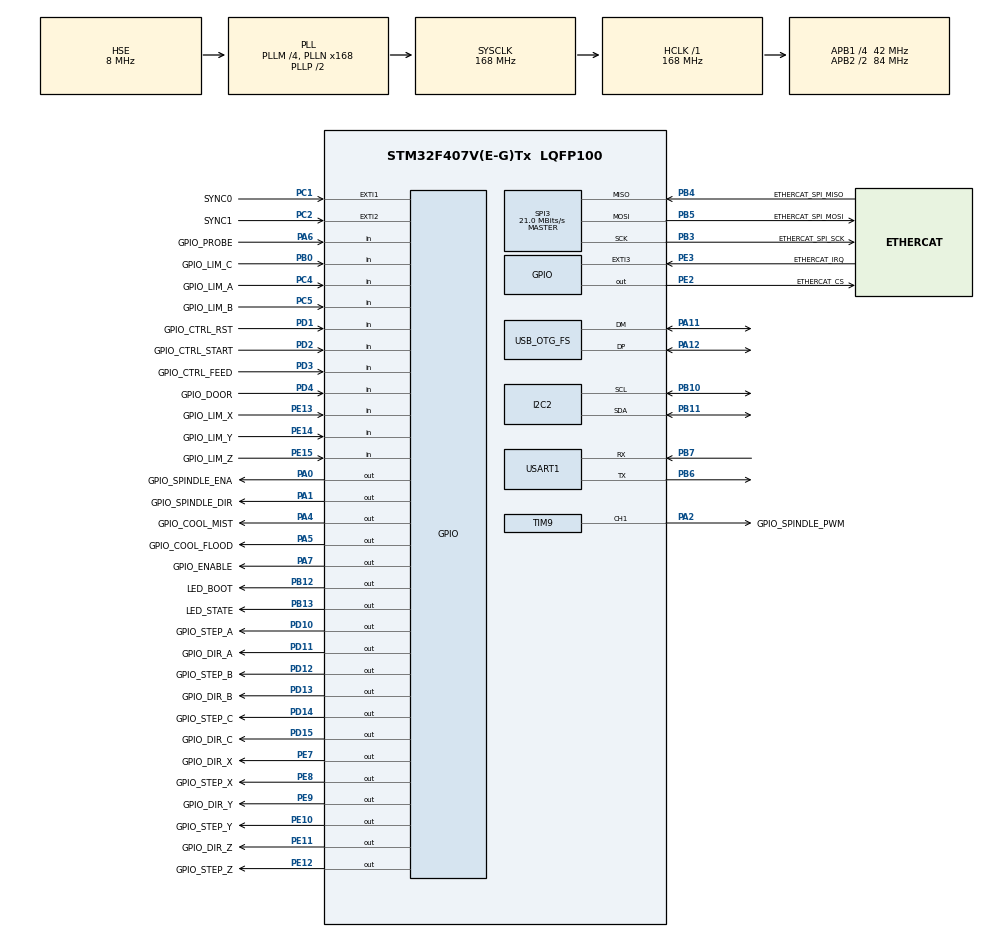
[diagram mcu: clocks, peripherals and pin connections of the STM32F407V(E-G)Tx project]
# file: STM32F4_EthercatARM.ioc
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IWDG.Prescaler=IWDG_PRESCALER_32
IWDG.Reload=1000
Mcu.Family=STM32F4
Mcu.Name=STM32F407V(E-G)Tx
Mcu.Package=LQFP100
NVIC.EXTI1_IRQn=true\:0\:0\:true\:false\:true\:true
NVIC.EXTI2_IRQn=true\:0\:0\:true\:false\:true\:true
NVIC.EXTI3_IRQn=true\:0\:0\:true\:false\:true\:true
NVIC.PriorityGroup=NVIC_PRIORITYGROUP_4
NVIC.TIM4_IRQn=true\:0\:0\:true\:false\:false\:true
NVIC.TIM5_IRQn=true\:0\:0\:true\:false\:true\:true
NVIC.USART1_IRQn=true\:0\:0\:false\:false\:true\:true
PA0-WKUP.GPIO_Label=GPIO_SPINDLE_ENA
PA0-WKUP.Signal=GPIO_Output
PA1.GPIO_Label=GPIO_SPINDLE_DIR
PA1.Signal=GPIO_Output
PA11.Mode=Device_Only
PA11.Signal=USB_OTG_FS_DM
PA12.Mode=Device_Only
PA12.Signal=USB_OTG_FS_DP
PA13.Mode=Serial_Wire
PA13.Signal=SYS_JTMS-SWDIO
PA14.Mode=Serial_Wire
PA14.Signal=SYS_JTCK-SWCLK
PA2.GPIO_Label=GPIO_SPINDLE_PWM
PA2.GPIO_PuPd=GPIO_PULLUP
PA2.GPIO_Speed=GPIO_SPEED_FREQ_HIGH
PA2.Signal=S_TIM9_CH1
PA4.GPIO_Label=GPIO_COOL_MIST
PA4.Signal=GPIO_Output
PA5.GPIO_Label=GPIO_COOL_FLOOD
PA5.Signal=GPIO_Output
PA6.GPIO_Label=GPIO_PROBE
PA6.GPIO_PuPd=GPIO_PULLUP
PA6.Signal=GPIO_Input
PA7.GPIO_Label=GPIO_ENABLE
PA7.GPIO_PuPd=GPIO_PULLUP
PA7.GPIO_Speed=GPIO_SPEED_FREQ_HIGH
PA7.PinState=GPIO_PIN_SET
PA7.Signal=GPIO_Output
PB0.GPIO_Label=GPIO_LIM_C
PB0.GPIO_PuPd=GPIO_PULLUP
PB0.Signal=GPIO_Input
PB10.Mode=I2C
PB10.Signal=I2C2_SCL
PB11.Mode=I2C
PB11.Signal=I2C2_SDA
PB12.GPIO_Label=LED_BOOT
PB12.GPIO_Speed=GPIO_SPEED_FREQ_HIGH
PB12.PinState=GPIO_PIN_SET
PB12.Signal=GPIO_Output
PB13.GPIO_Label=LED_STATE
PB13.GPIO_Speed=GPIO_SPEED_FREQ_HIGH
PB13.PinState=GPIO_PIN_SET
PB13.Signal=GPIO_Output
PB3.GPIO_Label=ETHERCAT_SPI_SCK
PB3.GPIO_PuPd=GPIO_PULLDOWN
PB3.Mode=Full_Duplex_Master
PB3.Signal=SPI3_SCK
PB4.GPIO_Label=ETHERCAT_SPI_MISO
PB4.GPIO_PuPd=GPIO_PULLDOWN
PB4.Mode=Full_Duplex_Master
PB4.Signal=SPI3_MISO
PB5.GPIO_Label=ETHERCAT_SPI_MOSI
PB5.GPIO_PuPd=GPIO_PULLDOWN
PB5.Mode=Full_Duplex_Master
PB5.Signal=SPI3_MOSI
PB6.Mode=Asynchronous
PB6.Signal=USART1_TX
PB7.Mode=Asynchronous
PB7.Signal=USART1_RX
PC1.GPIO_Label=SYNC0
PC1.GPIO_ModeDefaultEXTI=GPIO_MODE_IT_FALLING
PC1.Signal=GPXTI1
PC14-OSC32_IN.Mode=LSE-External-Oscillator
PC14-OSC32_IN.Signal=RCC_OSC32_IN
PC15-OSC32_OUT.Mode=LSE-External-Oscillator
PC15-OSC32_OUT.Signal=RCC_OSC32_OUT
PC2.GPIO_Label=SYNC1
PC2.GPIO_ModeDefaultEXTI=GPIO_MODE_IT_FALLING
PC2.Signal=GPXTI2
PC4.GPIO_Label=GPIO_LIM_A
PC4.GPIO_PuPd=GPIO_PULLUP
PC4.Signal=GPIO_Input
PC5.GPIO_Label=GPIO_LIM_B
PC5.GPIO_PuPd=GPIO_PULLUP
PC5.Signal=GPIO_Input
PD1.GPIO_Label=GPIO_CTRL_RST
PD1.GPIO_PuPd=GPIO_PULLDOWN
PD1.Signal=GPIO_Input
PD10.GPIO_Label=GPIO_STEP_A
PD10.GPIO_Speed=GPIO_SPEED_FREQ_VERY_HIGH
PD10.Signal=GPIO_Output
PD11.GPIO_Label=GPIO_DIR_A
PD11.GPIO_Speed=GPIO_SPEED_FREQ_VERY_HIGH
PD11.Signal=GPIO_Output
PD12.GPIO_Label=GPIO_STEP_B
PD12.GPIO_Speed=GPIO_SPEED_FREQ_VERY_HIGH
PD12.Signal=GPIO_Output
PD13.GPIO_Label=GPIO_DIR_B
PD13.GPIO_Speed=GPIO_SPEED_FREQ_VERY_HIGH
PD13.Signal=GPIO_Output
PD14.GPIO_Label=GPIO_STEP_C
PD14.GPIO_Speed=GPIO_SPEED_FREQ_VERY_HIGH
PD14.Signal=GPIO_Output
PD15.GPIO_Label=GPIO_DIR_C
PD15.GPIO_Speed=GPIO_SPEED_FREQ_VERY_HIGH
PD15.Signal=GPIO_Output
PD2.GPIO_Label=GPIO_CTRL_START
PD2.GPIO_PuPd=GPIO_PULLDOWN
PD2.Signal=GPIO_Input
PD3.GPIO_Label=GPIO_CTRL_FEED
PD3.GPIO_PuPd=GPIO_PULLDOWN
PD3.Signal=GPIO_Input
PD4.GPIO_Label=GPIO_DOOR
PD4.GPIO_PuPd=GPIO_PULLDOWN
PD4.Signal=GPIO_Input
PE10.GPIO_Label=GPIO_STEP_Y
PE10.GPIO_Speed=GPIO_SPEED_FREQ_VERY_HIGH
PE10.Signal=GPIO_Output
PE11.GPIO_Label=GPIO_DIR_Z
PE11.GPIO_Speed=GPIO_SPEED_FREQ_VERY_HIGH
PE11.Signal=GPIO_Output
PE12.GPIO_Label=GPIO_STEP_Z
PE12.GPIO_Speed=GPIO_SPEED_FREQ_VERY_HIGH
PE12.Signal=GPIO_Output
PE13.GPIO_Label=GPIO_LIM_X
PE13.GPIO_PuPd=GPIO_PULLUP
PE13.Signal=GPIO_Input
PE14.GPIO_Label=GPIO_LIM_Y
PE14.GPIO_PuPd=GPIO_PULLUP
PE14.Signal=GPIO_Input
PE15.GPIO_Label=GPIO_LIM_Z
PE15.GPIO_PuPd=GPIO_PULLUP
PE15.Signal=GPIO_Input
PE2.GPIO_Label=ETHERCAT_CS
PE2.GPIO_PuPd=GPIO_PULLUP
PE2.GPIO_Speed=GPIO_SPEED_FREQ_HIGH
PE2.PinState=GPIO_PIN_SET
PE2.Signal=GPIO_Output
PE3.GPIO_Label=ETHERCAT_IRQ
PE3.GPIO_ModeDefaultEXTI=GPIO_MODE_IT_FALLING
PE3.Signal=GPXTI3
PE7.GPIO_Label=GPIO_DIR_X
PE7.GPIO_Speed=GPIO_SPEED_FREQ_VERY_HIGH
PE7.Signal=GPIO_Output
PE8.GPIO_Label=GPIO_STEP_X
PE8.GPIO_Speed=GPIO_SPEED_FREQ_VERY_HIGH
PE8.Signal=GPIO_Output
PE9.GPIO_Label=GPIO_DIR_Y
PE9.GPIO_Speed=GPIO_SPEED_FREQ_VERY_HIGH
PE9.Signal=GPIO_Output
PH0-OSC_IN.Mode=HSE-External-Oscillator
PH0-OSC_IN.Signal=RCC_OSC_IN
PH1-OSC_OUT.Mode=HSE-External-Oscillator
PH1-OSC_OUT.Signal=RCC_OSC_OUT
ProjectManager.HeapSize=0x200
ProjectManager.StackSize=0x400
ProjectManager.TargetToolchain=MDK-ARM V5
RCC.48MHZClocksFreq_Value=48000000
RCC.AHBFreq_Value=168000000
RCC.APB1CLKDivider=RCC_HCLK_DIV4
RCC.APB1Freq_Value=42000000
RCC.APB1TimFreq_Value=84000000
RCC.APB2CLKDivider=RCC_HCLK_DIV2
RCC.APB2Freq_Value=84000000
RCC.APB2TimFreq_Value=168000000
RCC.CortexFreq_Value=168000000
RCC.HCLKFreq_Value=168000000
RCC.HSE_VALUE=8000000
RCC.HSI_VALUE=16000000
RCC.PLLM=4
RCC.PLLN=168
RCC.PLLQ=7
RCC.SYSCLKFreq_VALUE=168000000
RCC.SYSCLKSource=RCC_SYSCLKSOURCE_PLLCLK
RCC.VCOOutputFreq_Value=336000000
SH.S_TIM9_CH1.0=TIM9_CH1,PWM Generation1 CH1
SPI3.CalculateBaudRate=21.0 MBits/s
SPI3.Direction=SPI_DIRECTION_2LINES
SPI3.Mode=SPI_MODE_MASTER
SPI3.VirtualType=VM_MASTER
TIM4.Channel-Output\ Compare1\ No\ Output=TIM_CHANNEL_1
TIM4.OCPolarity_1=TIM_OCPOLARITY_LOW
TIM4.Period=0xFFFF
TIM4.Prescaler=40-1
TIM4.Pulse-Output\ Compare1\ No\ Output=0x0FFF
TIM5.Period=2000
TIM5.Prescaler=42-1
TIM9.Channel-PWM\ Generation1\ CH1=TIM_CHANNEL_1
TIM9.Period=2000-1
TIM9.Prescaler=84-1
USART1.VirtualMode=VM_ASYNC
USB_OTG_FS.VirtualMode=Device_Only
VP_IWDG_VS_IWDG.Mode=IWDG_Activate
VP_TIM4_VS_ClockSourceINT.Mode=Internal
VP_TIM4_VS_no_output1.Mode=Output Compare1 No Output
VP_TIM5_VS_ClockSourceINT.Mode=Internal
VP_TIM9_VS_ClockSourceINT.Mode=Internal
board=custom

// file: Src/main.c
/**
  ******************************************************************************
  * @file           : main.c
  * @brief          : Main program body
  ******************************************************************************
  ** This notice applies to any and all portions of this file
  * that are not between comment pairs USER CODE BEGIN and
  * USER CODE END. Other portions of this file, whether
  * inserted by the user or by software development tools
  * are owned by their respective copyright owners.
  *
  * COPYRIGHT(c) 2019 STMicroelectronics
  *
  * Redistribution and use in source and binary forms, with or without modification,
  * are permitted provided that the following conditions are met:
  *   1. Redistributions of source code must retain the above copyright notice,
  *      this list of conditions and the following disclaimer.
  *   2. Redistributions in binary form must reproduce the above copyright notice,
  *      this list of conditions and the following disclaimer in the documentation
  *      and/or other materials provided with the distribution.
  *   3. Neither the name of STMicroelectronics nor the names of its contributors
  *      may be used to endorse or promote products derived from this software
  *      without specific prior written permission.
  *
  * THIS SOFTWARE IS PROVIDED BY THE COPYRIGHT HOLDERS AND CONTRIBUTORS "AS IS"
  * AND ANY EXPRESS OR IMPLIED WARRANTIES, INCLUDING, BUT NOT LIMITED TO, THE
  * IMPLIED WARRANTIES OF MERCHANTABILITY AND FITNESS FOR A PARTICULAR PURPOSE ARE
  * DISCLAIMED. IN NO EVENT SHALL THE COPYRIGHT HOLDER OR CONTRIBUTORS BE LIABLE
  * FOR ANY DIRECT, INDIRECT, INCIDENTAL, SPECIAL, EXEMPLARY, OR CONSEQUENTIAL
  * DAMAGES (INCLUDING, BUT NOT LIMITED TO, PROCUREMENT OF SUBSTITUTE GOODS OR
  * SERVICES; LOSS OF USE, DATA, OR PROFITS; OR BUSINESS INTERRUPTION) HOWEVER
  * CAUSED AND ON ANY THEORY OF LIABILITY, WHETHER IN CONTRACT, STRICT LIABILITY,
  * OR TORT (INCLUDING NEGLIGENCE OR OTHERWISE) ARISING IN ANY WAY OUT OF THE USE
  * OF THIS SOFTWARE, EVEN IF ADVISED OF THE POSSIBILITY OF SUCH DAMAGE.
  *
  ******************************************************************************
  */
#include "main.h"
#include "stm32f4xx_hal.h"
#include "i2c.h"
#include "iwdg.h"
#include "spi.h"
#include "tim.h"
#include "usart.h"
#include "usb_otg.h"
#include "gpio.h"

/* USER CODE BEGIN Includes */
#include "ecat_def.h"
#include "applInterface.h"
#include "coeappl.h"
#include "el9800appl.h"
#include "global.h"

#include "Stepper.h"
#include "protocol.h"
#include "Setting.h"
#include "Home_limit.h"
#include "MPU6050_handle.h"

#define USE_ETHERCAT 1 //是否用EtherCAT通信
/* USER CODE END Includes */

/* USER CODE BEGIN PV */
/* Private variables ---------------------------------------------------------*/

/* USER CODE END PV */

void SystemClock_Config(void);

/* USER CODE BEGIN PFP */
/* Private function prototypes -----------------------------------------------*/

/* USER CODE END PFP */

/* USER CODE BEGIN 0 */
//  @ fuction:
//  @ description: Boot
//  @ input:
//  @ output:
//  @ note:
void Boot_State(uint8_t num,uint16_t time_delay){
  for(int i=0;i<num;i++){
	  HAL_GPIO_TogglePin(LED_BOOT_GPIO_Port,LED_BOOT_Pin);
		HAL_Delay(time_delay);
	}
}
/* USER CODE END 0 */

int main(void)
{

  /* MCU Configuration----------------------------------------------------------*/

  /* Reset of all peripherals, Initializes the Flash interface and the Systick. */
  HAL_Init();

  /* Configure the system clock */
  SystemClock_Config();

  /* Initialize all configured peripherals */
  MX_GPIO_Init();
  MX_USART1_UART_Init();
  MX_USB_OTG_FS_PCD_Init();
  MX_TIM9_Init();
  MX_TIM4_Init();
  MX_I2C2_Init();
  MX_SPI3_Init();
  MX_TIM5_Init();
  /* USER CODE BEGIN 2 */
	MotorTools_init();//由于PWM引脚设置的是上拉，所以需要在boot之前对电机进行初始化
	MotorTools_ResetPWM();
	IO_DeviceTools_init();

	Settings_Init();//初始化配置(flash)

	Boot_State(4,500);//boot
	Usart_Init(&STDOUT,115200);//设置串口的波特率
  //HAL_Delay(10);
	#if USE_ETHERCAT
  //ECAT初始化
	HW_Init();//Ethercat硬件初始化中的校验会阻塞
	MainInit();
	APPL_GenerateMapping(&nPdInputSize,&nPdOutputSize);
	bRunApplication = TRUE;
	#endif
	Stepper_Enable(false);//暂时不使能
	Stepper_Timer_init();

	Home_limit_init();
	Angle_Limit_init();

	Is_ethercat_init = true;
//	MotorTools_init();
//	MotorTools_ResetPWM();
	//MotorTools_setPWM(2000);
//	TIM9->CCR1 = 2000;
  /* USER CODE END 2 */

  /* Infinite loop */
  /* USER CODE BEGIN WHILE */
	//MX_IWDG_Init(); //开启独立看门狗
	My_IWDG_SetReloadData(2000);//开启看门狗2s
  while (1)
  {
		#if USE_ETHERCAT
		MainLoop();
		#endif
		HAL_IWDG_Refresh(&hiwdg);//喂狗(1000ms周期)
		LED_Twinkle();//indication of normal state of program 改到中断中(改到中断中有些问题??)

		if(Is_setting_to_flash){//配置信息持久化存储(写入信息过长会触发看门狗)
			My_IWDG_SetReloadData(4000);//将看门狗延迟到4s
		  WriteGlobalSettings();
			Is_setting_to_flash = false;
			My_IWDG_SetReloadData(2000);//恢复2s的看门狗
		}

		if(Contol_key_state.mode_ethercat_run == 0){
		   MPU6050_limit_handle();
		}

		//printf("limit=%d\n",Contol_key_state.key_limit_state);
		//HAL_Delay(10);
  /* USER CODE END WHILE */

  /* USER CODE BEGIN 3 */

  }
  HW_Release();
  /* USER CODE END 3 */

}

void SystemClock_Config(void)
{

  RCC_OscInitTypeDef RCC_OscInitStruct;
  RCC_ClkInitTypeDef RCC_ClkInitStruct;

    /**Configure the main internal regulator output voltage
    */
  __HAL_RCC_PWR_CLK_ENABLE();

  __HAL_PWR_VOLTAGESCALING_CONFIG(PWR_REGULATOR_VOLTAGE_SCALE1);

    /**Initializes the CPU, AHB and APB busses clocks
    */
  RCC_OscInitStruct.OscillatorType = RCC_OSCILLATORTYPE_LSI|RCC_OSCILLATORTYPE_HSE;
  RCC_OscInitStruct.HSEState = RCC_HSE_ON;
  RCC_OscInitStruct.LSIState = RCC_LSI_ON;
  RCC_OscInitStruct.PLL.PLLState = RCC_PLL_ON;
  RCC_OscInitStruct.PLL.PLLSource = RCC_PLLSOURCE_HSE;
  RCC_OscInitStruct.PLL.PLLM = 4;
  RCC_OscInitStruct.PLL.PLLN = 168;
  RCC_OscInitStruct.PLL.PLLP = RCC_PLLP_DIV2;
  RCC_OscInitStruct.PLL.PLLQ = 7;
  if (HAL_RCC_OscConfig(&RCC_OscInitStruct) != HAL_OK)
  {
    _Error_Handler(__FILE__, __LINE__);
  }

    /**Initializes the CPU, AHB and APB busses clocks
    */
  RCC_ClkInitStruct.ClockType = RCC_CLOCKTYPE_HCLK|RCC_CLOCKTYPE_SYSCLK
                              |RCC_CLOCKTYPE_PCLK1|RCC_CLOCKTYPE_PCLK2;
  RCC_ClkInitStruct.SYSCLKSource = RCC_SYSCLKSOURCE_PLLCLK;
  RCC_ClkInitStruct.AHBCLKDivider = RCC_SYSCLK_DIV1;
  RCC_ClkInitStruct.APB1CLKDivider = RCC_HCLK_DIV4;
  RCC_ClkInitStruct.APB2CLKDivider = RCC_HCLK_DIV2;

  if (HAL_RCC_ClockConfig(&RCC_ClkInitStruct, FLASH_LATENCY_5) != HAL_OK)
  {
    _Error_Handler(__FILE__, __LINE__);
  }

    /**Configure the Systick interrupt time
    */
  HAL_SYSTICK_Config(HAL_RCC_GetHCLKFreq()/1000);

    /**Configure the Systick
    */
  HAL_SYSTICK_CLKSourceConfig(SYSTICK_CLKSOURCE_HCLK);

  /* SysTick_IRQn interrupt configuration */
  HAL_NVIC_SetPriority(SysTick_IRQn, 0, 0);
}

void _Error_Handler(char *file, int line)
{
  while(1)
  {
  }
}

/************************ (C) COPYRIGHT STMicroelectronics *****END OF FILE****/
